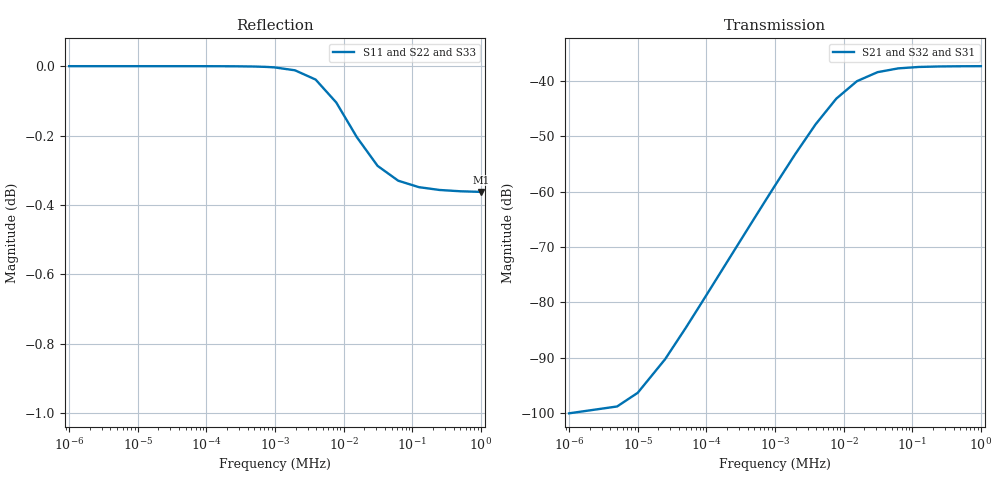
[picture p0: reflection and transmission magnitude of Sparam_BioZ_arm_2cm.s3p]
# GHz S MA R 50
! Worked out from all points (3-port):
!   21 points, 1 Hz to 1 MHz, reference 50 ohm
!   strongest paths, dB at 1 Hz, 75 Hz, 976.6 Hz, 31.25 kHz, 1 MHz:
!     S21: -100.0, -81.2, -59.1, -38.4, -37.3
!     S32: -100.0, -81.2, -59.1, -38.6, -37.4
!     S31: -100.0, -81.2, -59.1, -38.7, -37.4
!   lowest |S11| = -0.4 dB at 1 MHz (marker M1), VSWR 47.94, Z = 2.4e+03 - j39.2 ohm
!   |S11| at or under -10 dB: nowhere
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1e-09  1 -0.0  9.976e-06 6.7  9.976e-06 6.7
       9.976e-06 6.7  1 -0.0  9.976e-06 6.7
       9.976e-06 6.7  9.976e-06 6.7  1 -0.0
7.5e-08  1 -0.0  8.754e-05 82.6  8.754e-05 82.6
         8.754e-05 82.6  1 -0.0  8.754e-05 82.6
         8.754e-05 82.6  8.754e-05 82.6  1 -0.0
1e-07  1 -0.0  0.0001163 84.0  0.0001163 84.0
       0.0001163 84.0  1 -0.0  0.0001163 84.0
       0.0001163 84.0  0.0001163 84.0  1 -0.0
1.95313e-06  0.9986 -0.4  0.002164 77.7  0.00216 77.2
             0.002164 77.7  0.9986 -0.4  0.002162 77.5
             0.00216 77.2  0.002162 77.5  0.9986 -0.4
3.90625e-06  0.9955 -0.6  0.004057 68.6  0.004033 67.7
             0.004057 68.6  0.9956 -0.6  0.004046 68.3
             0.004033 67.7  0.004046 68.3  0.9956 -0.6
7.8125e-06  0.988 -1.0  0.006912 54.4  0.006802 53.2
            0.006912 54.4  0.988 -1.0  0.006864 54.0
            0.006802 53.2  0.006864 54.0  0.988 -1.0
1.5625e-05  0.9767 -1.0  0.009944 37.3  0.009651 36.2
            0.009944 37.3  0.9766 -1.0  0.009822 36.9
            0.009651 36.2  0.009822 36.9  0.9766 -1.0
3.125e-05  0.9674 -0.8  0.012 22.4  0.01155 21.9
           0.012 22.4  0.9671 -0.8  0.01181 22.2
           0.01155 21.9  0.01181 22.2  0.9671 -0.8
6.25e-05  0.9627 -0.5  0.01298 12.3  0.01253 12.4
          0.01298 12.3  0.9623 -0.5  0.01279 12.3
          0.01253 12.4  0.01279 12.3  0.9623 -0.5
0.001  0.9591 -0.0  0.01358 0.8  0.01348 0.9
       0.01358 0.8  0.959 -0.0  0.01354 0.9
       0.01348 0.9  0.01354 0.9  0.959 -0.0
